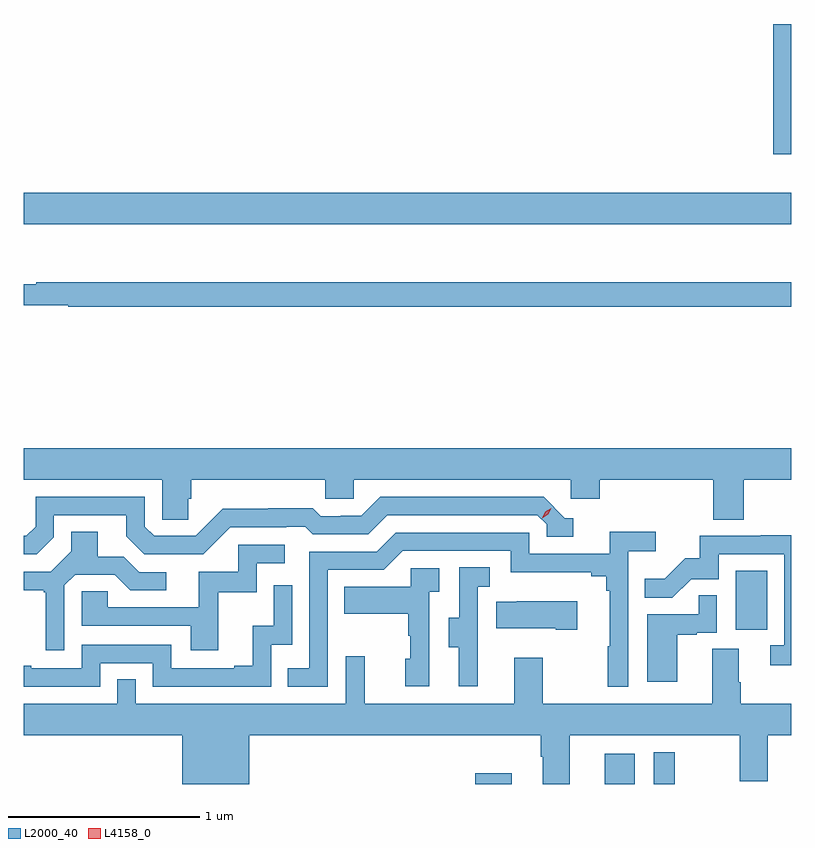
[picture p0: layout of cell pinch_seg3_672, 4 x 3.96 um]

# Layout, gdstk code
import gdstk
lib = gdstk.Library(unit=1e-6, precision=1e-09)
def R(c, l, rs):  # rectangles x0, y0, x1, y1
    for r in rs: c.add(gdstk.rectangle(r[:2], r[2:], *l))
def P(c, l, *ps):  # polygons
    for p in ps: c.add(gdstk.Polygon(p, *l))
L2000_40 = (2000, 40)
L4158_0 = (4158, 0)

pinch_seg3_672 = lib.new_cell('pinch_seg3_672')
R(pinch_seg3_672, L2000_40, [(1126.597,683.346,1126.786,683.401), (1127.27,683.346,1127.428,683.503), (1127.526,683.346,1127.635,683.512), (1127.954,684.15,1128.118,684.457), (1124.243,686.264,1128.243,686.428), (1128.151,686.628,1128.243,687.308)])
P(pinch_seg3_672, L2000_40, [(1128.243,685.963),(1124.308,685.963),(1124.308,685.95),(1124.243,685.95),(1124.243,685.842),(1124.474,685.842),(1124.474,685.834),(1128.243,685.834)],
  [(1125.101,684.834),(1125.116,684.834),(1125.116,684.932),(1125.813,684.932),(1125.813,684.834),(1125.963,684.834),(1125.963,684.932),(1127.094,684.932),(1127.094,684.834),(1127.246,684.834),(1127.246,684.932),(1127.837,684.932),(1127.837,684.724),(1127.997,684.724),(1127.997,684.932),(1128.243,684.932),(1128.243,685.096),(1124.243,685.096),(1124.243,684.932),(1124.964,684.932),(1124.964,684.724),(1125.101,684.724)],
  [(1124.4,684.633),(1124.4,684.747),(1124.777,684.747),(1124.777,684.637),(1124.871,684.543),(1125.177,684.543),(1125.318,684.684),(1125.611,684.684),(1125.611,684.687),(1125.71,684.687),(1125.749,684.648),(1126.038,684.648),(1126.137,684.747),(1126.92,684.747),(1126.968,684.699),(1126.968,684.636),(1127.107,684.636),(1127.107,684.732),(1127.064,684.732),(1126.953,684.843),(1126.1,684.843),(1126.001,684.744),(1125.894,684.744),(1125.894,684.741),(1125.791,684.741),(1125.749,684.784),(1125.516,684.784),(1125.516,684.781),(1125.28,684.781),(1125.138,684.639),(1124.922,684.639),(1124.874,684.687),(1124.874,684.843),(1124.304,684.843),(1124.304,684.687),(1124.256,684.639),(1124.243,684.639),(1124.243,684.543),(1124.31,684.543)],
  [(1124.454,684.381),(1124.511,684.438),(1124.717,684.438),(1124.798,684.357),(1124.986,684.357),(1124.986,684.45),(1124.844,684.45),(1124.764,684.53),(1124.629,684.53),(1124.629,684.662),(1124.489,684.662),(1124.489,684.56),(1124.382,684.453),(1124.243,684.453),(1124.243,684.356),(1124.346,684.356),(1124.346,684.345),(1124.357,684.345),(1124.357,684.042),(1124.454,684.042)],
  [(1125.828,684.462),(1126.119,684.462),(1126.218,684.561),(1126.782,684.561),(1126.782,684.449),(1127.201,684.449),(1127.201,684.43),(1127.278,684.43),(1127.278,684.353),(1127.297,684.353),(1127.297,684.065),(1127.286,684.065),(1127.286,683.853),(1127.394,683.853),(1127.394,684.56),(1127.536,684.56),(1127.536,684.662),(1127.297,684.662),(1127.297,684.546),(1126.878,684.546),(1126.878,684.657),(1126.181,684.657),(1126.082,684.558),(1125.732,684.558),(1125.732,683.949),(1125.619,683.949),(1125.619,683.853),(1125.828,683.853)],
  [(1128.243,684.644),(1128.085,684.644),(1128.085,684.639),(1127.767,684.639),(1127.767,684.522),(1127.69,684.522),(1127.583,684.415),(1127.479,684.415),(1127.479,684.316),(1127.623,684.316),(1127.721,684.414),(1127.865,684.414),(1127.865,684.543),(1128.207,684.543),(1128.207,684.069),(1128.135,684.069),(1128.135,683.964),(1128.243,683.964)],
  [(1125.257,684.345),(1125.456,684.345),(1125.456,684.498),(1125.604,684.498),(1125.604,684.594),(1125.36,684.594),(1125.36,684.453),(1125.155,684.453),(1125.155,684.267),(1124.681,684.267),(1124.681,684.351),(1124.544,684.351),(1124.544,684.171),(1125.113,684.171),(1125.113,684.042),(1125.257,684.042)],
  [(1126.61,684.069),(1126.608,684.069),(1126.608,684.373),(1126.672,684.373),(1126.672,684.476),(1126.512,684.476),(1126.512,684.213),(1126.457,684.213),(1126.457,684.058),(1126.511,684.058),(1126.511,683.856),(1126.61,683.856)],
  [(1126.356,684.347),(1126.408,684.347),(1126.408,684.471),(1126.26,684.471),(1126.26,684.373),(1125.913,684.373),(1125.913,684.233),(1126.248,684.233),(1126.248,684.119),(1126.258,684.119),(1126.258,684),(1126.232,684),(1126.232,683.856),(1126.356,683.856)],
  [(1124.64,683.976),(1124.916,683.976),(1124.916,683.853),(1125.534,683.853),(1125.534,684.072),(1125.642,684.072),(1125.642,684.382),(1125.546,684.382),(1125.546,684.17),(1125.437,684.17),(1125.437,683.962),(1125.341,683.962),(1125.341,683.949),(1125.012,683.949),(1125.012,684.072),(1124.544,684.072),(1124.544,683.949),(1124.281,683.949),(1124.281,683.962),(1124.243,683.962),(1124.243,683.853),(1124.64,683.853)],
  [(1127.65,684.123),(1127.75,684.123),(1127.75,684.135),(1127.856,684.135),(1127.856,684.329),(1127.761,684.329),(1127.761,684.231),(1127.492,684.231),(1127.492,683.88),(1127.65,683.88)],
  [(1127.128,684.298),(1126.813,684.298),(1126.813,684.295),(1126.705,684.295),(1126.705,684.158),(1127.015,684.158),(1127.015,684.151),(1127.128,684.151)],
  [(1124.826,683.891),(1124.73,683.891),(1124.73,683.764),(1124.243,683.764),(1124.243,683.6),(1125.068,683.6),(1125.068,683.346),(1125.418,683.346),(1125.418,683.6),(1126.937,683.6),(1126.937,683.488),(1126.949,683.488),(1126.949,683.346),(1127.089,683.346),(1127.089,683.6),(1127.974,683.6),(1127.974,683.361),(1128.121,683.361),(1128.121,683.6),(1128.243,683.6),(1128.243,683.764),(1127.979,683.764),(1127.979,683.876),(1127.971,683.876),(1127.971,684.05),(1127.831,684.05),(1127.831,683.764),(1126.947,683.764),(1126.947,684.004),(1126.799,684.004),(1126.799,683.764),(1126.019,683.764),(1126.019,684.013),(1125.921,684.013),(1125.921,683.764),(1124.826,683.764)])
P(pinch_seg3_672, L4158_0, [(1126.945,684.732),(1126.945,684.732),(1126.962,684.765),(1126.993,684.784),(1126.993,684.784),(1126.993,684.783),(1126.976,684.751),(1126.945,684.732)])

lib.write_gds('pinch_seg3_672.gds')
